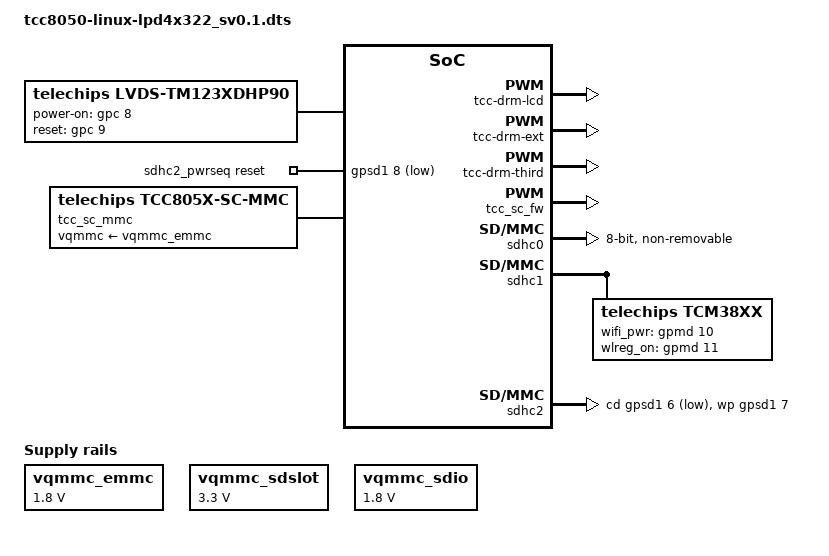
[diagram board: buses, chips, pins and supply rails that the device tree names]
// SPDX-License-Identifier: (GPL-2.0-or-later OR MIT)
/*
* Copyright (C) Telechips Inc.
* Device tree for Telechips TCC8050 AVN board
*/

#ifndef DT_OVERLAY
/dts-v1/;
#endif

#include "tcc8050-linux-avn.dtsi"

/ {
	/* Describe here after remove this statement if you have something to be override. */
	tm123xdhp90 {
		compatible = "telechips,lvds-tm123xdhp90";
		status = "okay";
		lvds0 = <&lvds_phy>;
		power-on-gpios = <&gpc 8 0>;   // LCD_ON
		reset-gpios = <&gpc 9 0>;    // LCD_RST
		/*
			 display-on-gpios = ;    // LCD_DISP
			 lvds-stby-gpios = ;   // LCD_DE = LVDS_STBY in LVDS
			 lvds-power-gpios = ;    // LVDS_EN
			 lvds-power-gpios1 = ;   // V_5V0_EN
		 */
		mode = <1>;   /* 0: single 1: dual */
		ports = <2 3>;
		mux_select = <2>; /*lcdc mux select */
	};

	tcc-drm-lcd {
	        compatible = "telechips,tcc-drm-lcd";
	        display-port-num = <0>;
	        reg = <0x0 0x12000000 0x0 0x100>,
		      <0x0 0x12000400 0x0 0x100>,
		      <0x0 0x12001800 0x0 0x100>,
		/* VIOC_REMAP */
		      <0x0 0x12000000 0x0 0x100>,
		      <0x0 0x12004000 0x0 0x100>,
		      <0x0 0x12018000 0x0 0x100>;

	        reg-names = "ddc", "rdma", "wmix";
	        interrupts = <GIC_SPI VIOC1_IRQI IRQ_TYPE_LEVEL_HIGH>;
	        interrupt-names = "vsync";
	        clock-names = "ddibus_vioc", "peri_lcd";
	        clocks = <&clk_ddi DDIBUS_VIOC>, <&clk_peri PERI_LCD0>;
	        status = "okay";
		display-timings {
			native-mode = <&timing0>;
			timing0: timing {
				clock-frequency = <88200000>;
				hactive = <1920>;
				vactive = <720>;
				hfront-porch = <28>;
				hback-porch = <28>;
				hsync-len = <8>;
				vback-porch = <10>;
				vfront-porch = <10>;
				vsync-len = <2>;
			};
		};
	};

	tcc-drm-ext {
	        compatible = "telechips,tcc-drm-ext";
	        display-port-num = <1>;
		reg = <0x0 0x12000100 0x0 0x100>,
		      <0x0 0x12000800 0x0 0x100>,
		      <0x0 0x12001900 0x0 0x100>,
		/* VIOC_REMAP */
		      <0x0 0x12001000 0x0 0x100>,
		      <0x0 0x12008000 0x0 0x100>,
		      <0x0 0x12019000 0x0 0x100>;
	        reg-names = "ddc", "rdma", "wmix";
	        interrupts = <GIC_SPI VIOC1_IRQI IRQ_TYPE_LEVEL_HIGH>;
	        interrupt-names = "vsync";
	        clock-names = "ddibus_vioc", "peri_lcd";
	        clocks = <&clk_ddi DDIBUS_VIOC>, <&clk_peri PERI_LCD1>;
	        status = "okay";
		display-timings {
			native-mode = <&timing1>;
			timing1: timing {
				clock-frequency = <88200000>;
				hactive = <1920>;
				vactive = <720>;
				hfront-porch = <28>;
				hback-porch = <28>;
				hsync-len = <8>;
				vback-porch = <10>;
				vfront-porch = <10>;
				vsync-len = <2>;
			};
		};
	};

	tcc-drm-third {
	        compatible = "telechips,tcc-drm-third";
	        display-port-num = <2>;
		reg = <0x0 0x12000200 0x0 0x100>,
		      <0x0 0x12000C00 0x0 0x100>,
		      <0x0 0x12001A00 0x0 0x100>,
		/* VIOC_REMAP */
		      <0x0 0x12002000 0x0 0x100>,
		      <0x0 0x1200C000 0x0 0x100>,
		      <0x0 0x1201A000 0x0 0x100>;
	        reg-names = "ddc", "rdma", "wmix";
	        interrupts = <GIC_SPI VIOC1_IRQI IRQ_TYPE_LEVEL_HIGH>;
	        interrupt-names = "vsync";
	        clock-names = "ddibus_vioc", "peri_lcd";
	        clocks = <&clk_ddi DDIBUS_VIOC>, <&clk_peri PERI_LCD2>;
	        status = "okay";
		display-timings {
			native-mode = <&timing2>;
			timing2: timing {
				clock-frequency = <51200000>;
				hactive = <1024>;
				vactive = <600>;
				hfront-porch = <147>;
				hback-porch = <147>;
				hsync-len = <19>;
				vback-porch = <10>;
				vfront-porch = <25>;
				vsync-len = <2>;
			};
		};
	};


	vqmmc_emmc: vqmmc_emmc {
		compatible = "regulator-fixed";
		regulator-name = "vqmmc_emmc";
		regulator-min-microvolt = <1800000>;
		regulator-max-microvolt = <1800000>;
		regulator-always-on;
	};

	sdhc2_pwrseq: sdhc2_pwrseq {
		compatible = "mmc-pwrseq-simple";
		reset-gpios = <&gpsd1 8 GPIO_ACTIVE_LOW>;
	};

	vqmmc_sdslot: vqmmc_sdslot {
		compatible = "regulator-fixed";
		regulator-name = "vqmmc_sdslot";
		regulator-min-microvolt = <3300000>;
		regulator-max-microvolt = <3300000>;
		regulator-always-on;
	};

	vqmmc_sdio: vqmmc_sdio {
		compatible = "regulator-fixed";
		regulator-name = "vqmmc_sdio";
		regulator-min-microvolt = <1800000>;
		regulator-max-microvolt = <1800000>;
		regulator-always-on;
	};

        vioc_mgr@0 {
                status = "okay";
        };

	tcc_sc_mmc: tcc_sc_mmc {
		compatible = "telechips,tcc805x-sc-mmc";
		status = "okay";

		max-frequency = <200000000>;
		bus-width = <8>;

		sc-firmware = <&tcc_sc_fw>;

		no-sdio;
		no-sd;
		non-removable;
		keep-power-in-suspend;
		disable-wp;

		mmc-hs400-1_8v;
		vqmmc-supply = <&vqmmc_emmc>;
	};
};

&a72_sc_mbox {
       status = "okay";
};

&tcc_sc_fw {
       status = "okay";
       mboxes = <&a72_sc_mbox 0>;
};

/* eMMC */
&sdhc0 {
	bus-width = <8>;
	pinctrl-names = "default";
	pinctrl-0 = <&sd0_clk &sd0_cmd &sd0_bus8>;

	sdhci-caps-mask = <0x7 0x0>;

	non-removable;
	keep-power-in-suspend;
	disable-wp;
	cap-mmc-hw-reset;

	tcc-mmc-reset = <&gpsd0 14 0>;

	vqmmc-supply = <&vqmmc_emmc>;
};

&sd0_clk {
	telechips,no-pull;
};

&sd0_cmd {
	telechips,no-pull;
};

&sd0_bus8 {
	telechips,no-pull;
};

/* SDIO */
&sdhc1 {
	status = "okay";
	pinctrl-names = "default";
	pinctrl-0 = <&sd1_clk &sd1_cmd &sd1_bus4 &out0_clk>;

	keep-power-in-suspend;
	cap-sdio-irq;

	vqmmc-supply = <&vqmmc_sdio>;

	cd-force-presence-change;

	tcm38xx {
		compatible = "telechips,tcm38xx";
		wifi_pwr-gpio = <&gpmd 10 0>; /* BT_WIFI_VBAT_EN */
		wlreg_on-gpio = <&gpmd 11 0>; /* WIFI_REG_ON */
		//wifi_pwr_1p8v-gpio = <&gpsd1 6 0>;
		//wifi_pwr_3p3v-gpio = <&gpsd1 7 0>;
	};
};

&sd1_clk {
	telechips,pull-up;
};

&sd1_cmd {
	telechips,pull-up;
};

&sd1_bus4 {
	telechips,pull-up;
};

/* SD slot */
&sdhc2 {
#ifdef CONFIG_MMC_SDHCI_TCC_MODULE_ONLY
	/*
	 * In order to reduce boot time,
	 * we use the driver as module not built-in.
	 */
	compatible = "telechips,tcc805x-sdhci,module-only";
#endif
	status = "okay";
	pinctrl-names = "default";
	pinctrl-0 = <&sd2_clk &sd2_cmd &sd2_bus4 &sd1_bus4_wp_cd>;

	broken-cd;
	cd-inverted;
	keep-power-in-suspend;

	wp-gpios = <&gpsd1 7 0>;
	cd-gpios = <&gpsd1 6 0>;

	mmc-pwrseq = <&sdhc2_pwrseq>;
	vqmmc-supply = <&vqmmc_sdslot>;
};

&sd2_clk {
	telechips,no-pull;
};

&sd2_cmd {
	telechips,no-pull;
};

&sd2_bus4 {
	telechips,no-pull;
};
